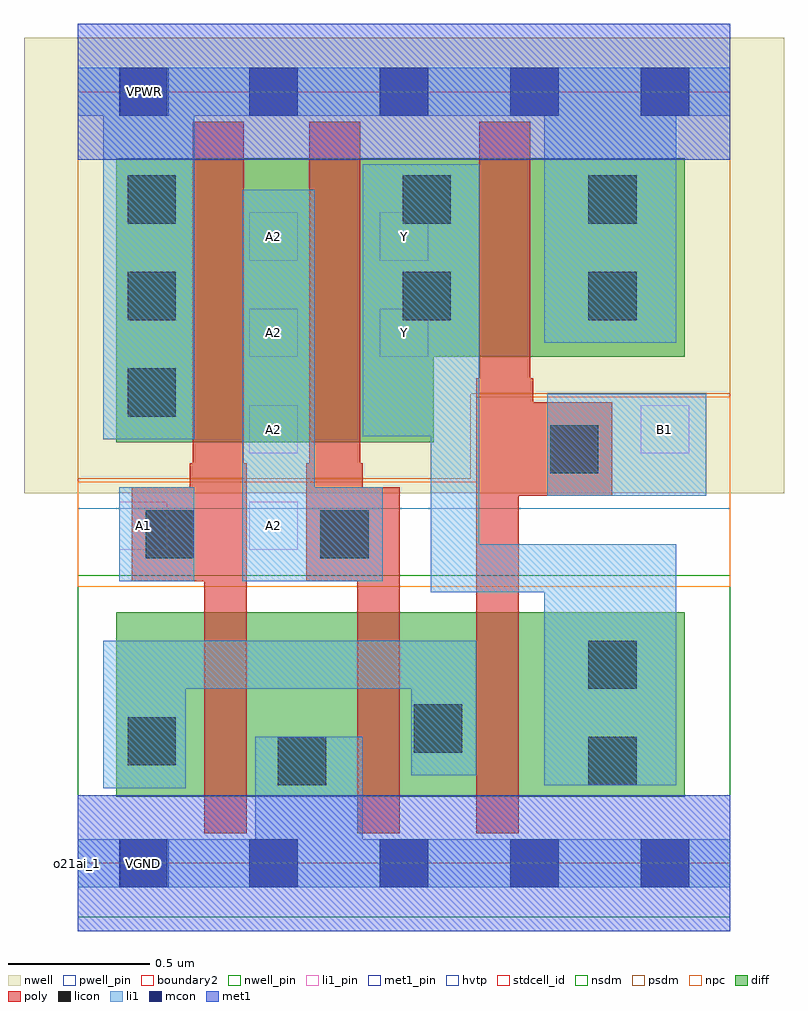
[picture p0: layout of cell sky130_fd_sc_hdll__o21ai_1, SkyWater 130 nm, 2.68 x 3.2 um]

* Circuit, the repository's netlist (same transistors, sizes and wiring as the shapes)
* Copyright 2020 The SkyWater PDK Authors
*
* Licensed under the Apache License, Version 2.0 (the "License");
* you may not use this file except in compliance with the License.
* You may obtain a copy of the License at
*
*     https://www.apache.org/licenses/LICENSE-2.0
*
* Unless required by applicable law or agreed to in writing, software
* distributed under the License is distributed on an "AS IS" BASIS,
* WITHOUT WARRANTIES OR CONDITIONS OF ANY KIND, either express or implied.
* See the License for the specific language governing permissions and
* limitations under the License.
*
* SPDX-License-Identifier: Apache-2.0

.SUBCKT sky130_fd_sc_hdll__o21ai_1 A1 A2 B1 VGND VNB VPB VPWR Y
*.PININFO A1:I A2:I B1:I VGND:I VNB:I VPB:I VPWR:I Y:O
MMPA0 VPWR A1 sndA1 VPB sky130_fd_pr__pfet_01v8_hvt m=1 w=1.0U l=0.18U mult=1 sa=0.265
+ sb=0.265 sd=0.28 area=0.063 perim=1.14
MMPA1 sndA1 A2 Y VPB sky130_fd_pr__pfet_01v8_hvt m=1 w=1.0U l=0.18U mult=1 sa=0.265
+ sb=0.265 sd=0.28 area=0.063 perim=1.14
MMPB0 VPWR B1 Y VPB sky130_fd_pr__pfet_01v8_hvt m=1 w=0.7U l=0.18U mult=1 sa=0.265
+ sb=0.265 sd=0.28 area=0.063 perim=1.14
MMNA0 pndA A1 VGND VNB sky130_fd_pr__nfet_01v8 m=1 w=0.65U l=0.15U mult=1 sa=0.265
+ sb=0.265 sd=0.28 area=0.063 perim=1.14
MMNA1 pndA A2 VGND VNB sky130_fd_pr__nfet_01v8 m=1 w=0.65U l=0.15U mult=1 sa=0.265
+ sb=0.265 sd=0.28 area=0.063 perim=1.14
MMNB0 Y B1 pndA VNB sky130_fd_pr__nfet_01v8 m=1 w=0.65U l=0.15U mult=1 sa=0.265
+ sb=0.265 sd=0.28 area=0.063 perim=1.14
.ENDS sky130_fd_sc_hdll__o21ai_1

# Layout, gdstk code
import gdstk
lib = gdstk.Library(unit=1e-6, precision=1e-09)
def R(c, l, rs):  # rectangles x0, y0, x1, y1
    for r in rs: c.add(gdstk.rectangle(r[:2], r[2:], *l))
def A(c, l, x, y, w, h, nx, ny, dx, dy):  # array of equal rectangles
    R(c, l, [(x+i*dx, y+j*dy, x+i*dx+w, y+j*dy+h) for i in range(nx) for j in range(ny)])
def P(c, l, *ps):  # polygons
    for p in ps: c.add(gdstk.Polygon(p, *l))
nwell_pin = (64, 16)
nwell = (64, 20)
diff = (65, 20)
poly = (66, 20)
licon = (66, 44)
li1_pin = (67, 16)
li1 = (67, 20)
mcon = (67, 44)
met1_pin = (68, 16)
met1 = (68, 20)
hvtp = (78, 44)
stdcell_id = (81, 4)
nsdm = (93, 44)
psdm = (94, 20)
npc = (95, 20)
pwell_pin = (122, 16)
boundary2 = (236, 0)

sky130_fd_sc_hdll__o21ai = lib.new_cell('sky130_fd_sc_hdll__o21ai_1')
R(sky130_fd_sc_hdll__o21ai, nwell_pin, [(0.15,2.635,0.32,2.805)])
R(sky130_fd_sc_hdll__o21ai, nwell, [(-0.19,1.305,2.49,2.91)])
R(sky130_fd_sc_hdll__o21ai, diff, [(0.135,0.235,2.14,0.885)])
P(sky130_fd_sc_hdll__o21ai, diff, [(2.14,2.485),(0.135,2.485),(0.135,1.485),(1.255,1.485),(1.255,1.785),(2.14,1.785)])
P(sky130_fd_sc_hdll__o21ai, poly, [(0.595,1.41),(0.585,1.41),(0.585,2.615),(0.405,2.615),(0.405,1.41),(0.395,1.41),(0.395,1.325),(0.19,1.325),(0.19,0.995),(0.445,0.995),(0.445,0.105),(0.595,0.105)],
  [(1.135,1.325),(1.005,1.325),(1.005,1.41),(0.995,1.41),(0.995,2.615),(0.815,2.615),(0.815,1.41),(0.805,1.41),(0.805,0.995),(0.985,0.995),(0.985,0.105),(1.135,0.105)],
  [(1.885,1.625),(1.605,1.625),(1.605,1.71),(1.595,1.71),(1.595,2.615),(1.415,2.615),(1.415,1.71),(1.405,1.71),(1.405,0.105),(1.555,0.105),(1.555,1.295),(1.885,1.295)])
A(sky130_fd_sc_hdll__o21ai, licon, 0.175, 1.575, 0.17, 0.17, 1, 3, 0, 0.34)
R(sky130_fd_sc_hdll__o21ai, licon, [(0.705,0.275,0.875,0.445), (1.8,0.275,1.97,0.445), (0.175,0.345,0.345,0.515), (1.185,0.39,1.355,0.56), (1.8,0.615,1.97,0.785), (0.24,1.075,0.41,1.245), (0.855,1.075,1.025,1.245), (1.665,1.375,1.835,1.545), (1.145,1.915,1.315,2.085), (1.8,1.915,1.97,2.085), (1.145,2.255,1.315,2.425), (1.8,2.255,1.97,2.425)])
A(sky130_fd_sc_hdll__o21ai, li1_pin, 0.605, 1.105, 0.17, 0.17, 1, 4, 0, 0.34)
R(sky130_fd_sc_hdll__o21ai, li1_pin, [(0.145,1.105,0.315,1.275), (1.985,1.445,2.155,1.615), (1.065,1.785,1.235,1.955), (1.065,2.125,1.235,2.295)])
R(sky130_fd_sc_hdll__o21ai, li1, [(0.145,0.995,0.41,1.325), (1.655,1.295,2.215,1.655)])
P(sky130_fd_sc_hdll__o21ai, li1, [(2.3,2.805),(0,2.805),(0,2.635),(0.09,2.635),(0.09,1.495),(0.41,1.495),(0.41,2.635),(1.645,2.635),(1.645,1.835),(2.11,1.835),(2.11,2.635),(2.3,2.635)],
  [(2.3,0.085),(1.005,0.085),(1.005,0.445),(0.625,0.445),(0.625,0.085),(0,0.085),(0,-0.085),(2.3,-0.085)],
  [(2.11,1.125),(1.415,1.125),(1.415,2.465),(1.005,2.465),(1.005,1.505),(1.245,1.505),(1.245,0.955),(1.645,0.955),(1.645,0.275),(2.11,0.275)],
  [(0.58,0.995),(0.58,2.375),(0.835,2.375),(0.835,1.325),(1.075,1.325),(1.075,0.995)],
  [(1.405,0.785),(0.09,0.785),(0.09,0.265),(0.38,0.265),(0.38,0.615),(1.175,0.615),(1.175,0.31),(1.405,0.31)])
A(sky130_fd_sc_hdll__o21ai, mcon, 0.145, -0.085, 0.17, 0.17, 5, 2, 0.46, 2.72)
R(sky130_fd_sc_hdll__o21ai, met1_pin, [(0.15,-0.085,0.32,0.085), (0.15,2.635,0.32,2.805)])
R(sky130_fd_sc_hdll__o21ai, met1, [(0,-0.24,2.3,0.24), (0,2.48,2.3,2.96)])
R(sky130_fd_sc_hdll__o21ai, hvtp, [(0,1.25,2.3,2.72)])
R(sky130_fd_sc_hdll__o21ai, stdcell_id, [(0,0,2.3,2.72)])
R(sky130_fd_sc_hdll__o21ai, nsdm, [(0,-0.19,2.3,1.015)])
P(sky130_fd_sc_hdll__o21ai, psdm, [(2.3,2.91),(0,2.91),(0,1.355),(1.385,1.355),(1.385,1.655),(2.3,1.655)])
P(sky130_fd_sc_hdll__o21ai, npc, [(2.3,1.645),(1.405,1.645),(1.405,1.345),(0,1.345),(0,0.975),(2.3,0.975)])
R(sky130_fd_sc_hdll__o21ai, pwell_pin, [(0.15,-0.085,0.32,0.085)])
R(sky130_fd_sc_hdll__o21ai, boundary2, [(0,0,2.3,2.72)])
sky130_fd_sc_hdll__o21ai.add(gdstk.Label('VGND', (0.23,0), layer=68, texttype=5))
sky130_fd_sc_hdll__o21ai.add(gdstk.Label('VPWR', (0.235,2.72), layer=68, texttype=5))
sky130_fd_sc_hdll__o21ai.add(gdstk.Label('A2', (0.69,2.21), layer=67, texttype=5))
sky130_fd_sc_hdll__o21ai.add(gdstk.Label('A2', (0.69,1.87), layer=67, texttype=5))
sky130_fd_sc_hdll__o21ai.add(gdstk.Label('A2', (0.69,1.53), layer=67, texttype=5))
sky130_fd_sc_hdll__o21ai.add(gdstk.Label('A1', (0.23,1.19), layer=67, texttype=5))
sky130_fd_sc_hdll__o21ai.add(gdstk.Label('A2', (0.69,1.19), layer=67, texttype=5))
sky130_fd_sc_hdll__o21ai.add(gdstk.Label('B1', (2.07,1.53), layer=67, texttype=5))
sky130_fd_sc_hdll__o21ai.add(gdstk.Label('Y', (1.15,2.21), layer=67, texttype=5))
sky130_fd_sc_hdll__o21ai.add(gdstk.Label('Y', (1.15,1.87), layer=67, texttype=5))
sky130_fd_sc_hdll__o21ai.add(gdstk.Label('VPB', (0.235,2.72), layer=64, texttype=5))
sky130_fd_sc_hdll__o21ai.add(gdstk.Label('VNB', (0.23,0), layer=64, texttype=59))
sky130_fd_sc_hdll__o21ai.add(gdstk.Label('o21ai_1', (0,0), layer=83, texttype=44))

lib.write_gds('sky130_fd_sc_hdll__o21ai_1.gds')
